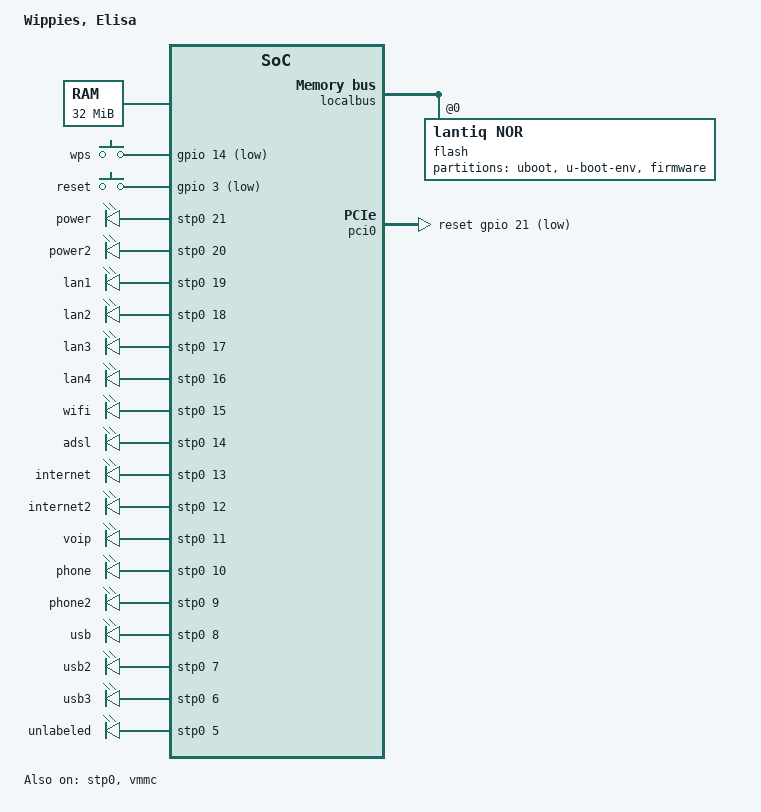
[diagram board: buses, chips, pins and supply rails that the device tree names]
#include "danube.dtsi"

#include <dt-bindings/input/input.h>

/ {
	compatible = "arcadyan,arv4510pw", "lantiq,xway", "lantiq,danube";
	model = "Wippies, Elisa";

	chosen {
		bootargs = "console=ttyLTQ0,115200";
	};

	aliases {
		led-boot = &power;
		led-failsafe = &power2;
		led-running = &power;
		led-upgrade = &power;

		led-dsl = &adsl;
		led-internet = &internet;
		led-usb = &led_usb;
		led-usb2 = &led_usb2;
		led-wifi = &wifi;
	};

	memory@0 {
		device_type = "memory";
		reg = <0x0 0x2000000>;
	};

	keys {
		compatible = "gpio-keys-polled";
		poll-interval = <100>;

		wps {
			label = "wps";
			gpios = <&gpio 14 GPIO_ACTIVE_LOW>;
			linux,code = <KEY_WPS_BUTTON>;
		};
		reset {
			label = "reset";
			gpios = <&gpio 3 GPIO_ACTIVE_LOW>;
			linux,code = <KEY_RESTART>;
		};
	};

	leds {
		compatible = "gpio-leds";
		power: power {
			label = "power";
			gpios = <&stp0 21 GPIO_ACTIVE_HIGH>;
			default-state = "keep";
		};
		power2: power2 {
			label = "power2";
			gpios = <&stp0 20 GPIO_ACTIVE_HIGH>;
		};
		lan1 {
			label = "lan1";
			gpios = <&stp0 19 GPIO_ACTIVE_HIGH>;
		};
		lan2 {
			label = "lan2";
			gpios = <&stp0 18 GPIO_ACTIVE_HIGH>;
		};
		lan3 {
			label = "lan3";
			gpios = <&stp0 17 GPIO_ACTIVE_HIGH>;
		};
		lan4 {
			label = "lan4";
			gpios = <&stp0 16 GPIO_ACTIVE_HIGH>;
		};
		wifi: wifi {
			label = "wifi";
			gpios = <&stp0 15 GPIO_ACTIVE_HIGH>;
		};
		adsl: adsl {
			label = "adsl";
			gpios = <&stp0 14 GPIO_ACTIVE_HIGH>;
		};
		internet: internet {
			label = "internet";
			gpios = <&stp0 13 GPIO_ACTIVE_HIGH>;
		};
		internet2 {
			label = "internet2";
			gpios = <&stp0 12 GPIO_ACTIVE_HIGH>;
		};
		voip {
			label = "voip";
			gpios = <&stp0 11 GPIO_ACTIVE_HIGH>;
		};
		phone {
			label = "phone";
			gpios = <&stp0 10 GPIO_ACTIVE_HIGH>;
		};
		phone2 {
			label = "phone2";
			gpios = <&stp0 9 GPIO_ACTIVE_HIGH>;
		};
		led_usb: usb {
			label = "usb";
			gpios = <&stp0 8 GPIO_ACTIVE_HIGH>;
		};
		led_usb2: usb2 {
			label = "usb2";
			gpios = <&stp0 7 GPIO_ACTIVE_HIGH>;
		};
		usb3 {
			label = "usb3";
			gpios = <&stp0 6 GPIO_ACTIVE_HIGH>;
		};
		unlabeled {
			label = "unlabeled";
			gpios = <&stp0 5 GPIO_ACTIVE_HIGH>;
		};
	};
};

&gpio {
	pinctrl-names = "default";
	pinctrl-0 = <&state_default>;

	state_default: pinmux {
		ebu {
			lantiq,groups = "ebu a23";
			lantiq,function = "ebu";
			lantiq,open-drain = <0>;
			lantiq,output = <1>;
		};
		exin {
			lantiq,groups = "exin1", "exin2";
			lantiq,function = "exin";
			lantiq,output = <0>;
		};
		pci_rst {
			lantiq,pins = "io21";
			lantiq,open-drain = <0>;
			lantiq,output = <1>;
		};
		buttons {
			lantiq,pins = "io3", "io14";
			lantiq,pull = <2>;
			lantiq,output = <0>;
		};
	};
};

&stp0 {
	status = "okay";
	lantiq,groups = <0x7>;
};

&gsw {
	phy-mode = "rmii";

	nvmem-cells = <&macaddr_uboot_ethaddr 0>;
	nvmem-cell-names = "mac-address";
};

&ppe {
	nvmem-cells = <&macaddr_uboot_ethaddr 1>;
	nvmem-cell-names = "mac-address";
};

&localbus {
	flash@0 {
		compatible = "lantiq,nor";
		bank-width = <2>;
		reg = <0 0x0 0x1000000>;

		lantiq,noxip;

		partitions {
			compatible = "fixed-partitions";
			#address-cells = <1>;
			#size-cells = <1>;

			partition@0 {
				label = "uboot";
				reg = <0x00000 0x40000>;
				read-only;
			};

			partition@40000 {
				label = "u-boot-env";
				reg = <0x40000 0x20000>;
				read-only;

				nvmem-layout {
					compatible = "u-boot,env";

					macaddr_uboot_ethaddr: ethaddr {
						#nvmem-cell-cells = <1>;
					};
				};
			};

			partition@60000 {
				label = "firmware";
				reg = <0x60000 0xfa0000>;
			};
		};
	};
};

&pci0 {
	status = "okay";

	pinctrl-0 = <&pci_gnt1_pins>, <&pci_gnt2_pins>,
		    <&pci_req1_pins>, <&pci_req2_pins>;
	pinctrl-names = "default";

	lantiq,external-clock;
	interrupt-map = <
		0x6000 0 0 1 &icu0 135
		0x7800 0 0 1 &icu0 66
		0x7800 0 0 2 &icu0 66
		0x7800 0 0 3 &icu0 66
	>;
	reset-gpios = <&gpio 21 GPIO_ACTIVE_LOW>;
	req-mask = <0x7>;
};

&vmmc {
	status = "okay";
};
